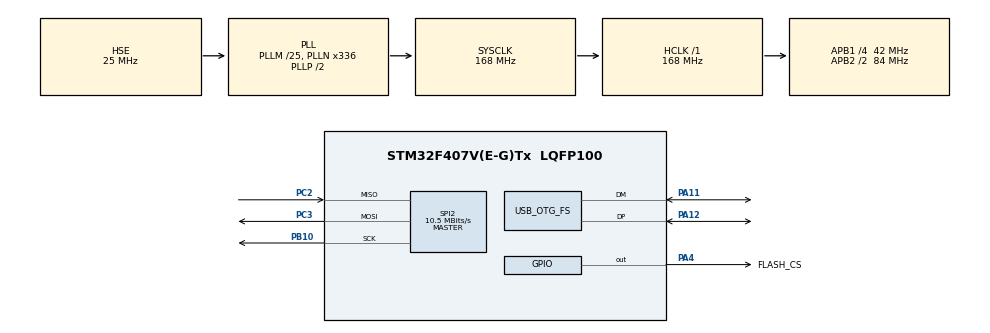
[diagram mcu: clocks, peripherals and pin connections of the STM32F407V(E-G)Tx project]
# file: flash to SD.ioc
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Mcu.Family=STM32F4
Mcu.Name=STM32F407V(E-G)Tx
Mcu.Package=LQFP100
NVIC.OTG_FS_IRQn=true\:0\:0\:false\:false\:true\:false\:true\:true
NVIC.PriorityGroup=NVIC_PRIORITYGROUP_4
PA11.Mode=Device_Only
PA11.Signal=USB_OTG_FS_DM
PA12.Mode=Device_Only
PA12.Signal=USB_OTG_FS_DP
PA13.Mode=Trace_Asynchronous_SW
PA13.Signal=SYS_JTMS-SWDIO
PA14.Mode=Trace_Asynchronous_SW
PA14.Signal=SYS_JTCK-SWCLK
PA4.GPIO_Label=FLASH_CS
PA4.Signal=GPIO_Output
PB10.Mode=Full_Duplex_Master
PB10.Signal=SPI2_SCK
PB3.Mode=Trace_Asynchronous_SW
PB3.Signal=SYS_JTDO-SWO
PC14-OSC32_IN.Mode=LSE-External-Oscillator
PC14-OSC32_IN.Signal=RCC_OSC32_IN
PC15-OSC32_OUT.Mode=LSE-External-Oscillator
PC15-OSC32_OUT.Signal=RCC_OSC32_OUT
PC2.Mode=Full_Duplex_Master
PC2.Signal=SPI2_MISO
PC3.Mode=Full_Duplex_Master
PC3.Signal=SPI2_MOSI
PH0-OSC_IN.Mode=HSE-External-Oscillator
PH0-OSC_IN.Signal=RCC_OSC_IN
PH1-OSC_OUT.Mode=HSE-External-Oscillator
PH1-OSC_OUT.Signal=RCC_OSC_OUT
ProjectManager.HeapSize=0x200
ProjectManager.StackSize=0x400
ProjectManager.TargetToolchain=STM32CubeIDE
RCC.48MHZClocksFreq_Value=48000000
RCC.AHBFreq_Value=168000000
RCC.APB1CLKDivider=RCC_HCLK_DIV4
RCC.APB1Freq_Value=42000000
RCC.APB1TimFreq_Value=84000000
RCC.APB2CLKDivider=RCC_HCLK_DIV2
RCC.APB2Freq_Value=84000000
RCC.APB2TimFreq_Value=168000000
RCC.CortexFreq_Value=168000000
RCC.HCLKFreq_Value=168000000
RCC.HSE_VALUE=25000000
RCC.HSI_VALUE=16000000
RCC.PLLM=25
RCC.PLLN=336
RCC.PLLQ=7
RCC.SYSCLKFreq_VALUE=168000000
RCC.SYSCLKSource=RCC_SYSCLKSOURCE_PLLCLK
RCC.VCOOutputFreq_Value=336000000
SPI2.BaudRatePrescaler=SPI_BAUDRATEPRESCALER_4
SPI2.CalculateBaudRate=10.5 MBits/s
SPI2.Direction=SPI_DIRECTION_2LINES
SPI2.Mode=SPI_MODE_MASTER
SPI2.VirtualType=VM_MASTER
USB_DEVICE.CLASS_NAME_FS=CDC
USB_DEVICE.VirtualMode-CDC_FS=Cdc
USB_DEVICE.VirtualModeFS=Cdc_FS
USB_OTG_FS.VirtualMode=Device_Only
VP_USB_DEVICE_VS_USB_DEVICE_CDC_FS.Mode=CDC_FS
board=custom

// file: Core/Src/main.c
/* USER CODE BEGIN Header */
/**
 ******************************************************************************
 * @file           : main.c
 * @brief          : Main program body
 ******************************************************************************
 * @attention
 *
 * Copyright (c) 2026 STMicroelectronics.
 * All rights reserved.
 *
 * This software is licensed under terms that can be found in the LICENSE file
 * in the root directory of this software component.
 * If no LICENSE file comes with this software, it is provided AS-IS.
 *
 ******************************************************************************
 */
/* USER CODE END Header */
#include "main.h"
#include "usb_device.h"

/* USER CODE BEGIN Includes */
#include "usbd_cdc_if.h"

#include <stdio.h>
#include <stdbool.h>
#include <string.h>

#include "FLIGHT.h"

#include "drivers/W25Q128JV/W25Q128JV.h"
#include "drivers/MICROSD/MICROSD.h"

#include "drivers/DEBUGGING/DEBUGGING.h"
/* USER CODE END Includes */

SPI_HandleTypeDef hspi2;

/* USER CODE BEGIN PV */
FlightDataHandler_t FlightData;
W25Q128JV_Handle_t W25Q128JV_Handler;

char output[1024] = {};
/* USER CODE END PV */

void SystemClock_Config(void);
static void MX_GPIO_Init(void);
static void MX_SPI2_Init(void);

int main(void)
{

  /* USER CODE BEGIN 1 */
    W25Q128JV_Handler.hspi = &hspi2;
    W25Q128JV_Handler.CsPort = FLASH_CS_GPIO_Port;
    W25Q128JV_Handler.CsPin = FLASH_CS_Pin;

  /* USER CODE END 1 */

  /* MCU Configuration--------------------------------------------------------*/

  /* Reset of all peripherals, Initializes the Flash interface and the Systick. */
  HAL_Init();

  /* Configure the system clock */
  SystemClock_Config();

  /* Initialize all configured peripherals */
  MX_GPIO_Init();
  MX_SPI2_Init();
  MX_USB_DEVICE_Init();
  /* USER CODE BEGIN 2 */
  W25Q128JVInit(&W25Q128JV_Handler);
      W25Q128JV_Handler.currentPage = 0;
      W25Q128JV_Handler.currentOffset = 0;
    uint8_t previousData = 0xAA;
  /* USER CODE END 2 */

  /* Infinite loop */
  /* USER CODE BEGIN WHILE */
    while (1)
    {
        W25Q128JVReadPage(&W25Q128JV_Handler, &FlightData);
        if((FlightData.start_byte == 255) && (previousData == 255))
        {
            break;
        }else if((FlightData.start_byte == 255)){
            sprintf(output, "\n\n\n\n\n\n");
            previousData = FlightData.start_byte;
            W25Q128JVReadPage(&W25Q128JV_Handler, &FlightData);
        }else{
        previousData = FlightData.start_byte;
        snprintf(output, sizeof(output),
                     "--- Packet: %lu ---\n"
                     "Time: %lu ms | Sys: %u | Flight: %u | Err: 0x%02X\n"
                     "IMU Acc: [%.2f, %.2f, %.2f]\n"
                     "IMU Gyr: [%.2f, %.2f, %.2f]\n"
                     "IMU Temp: %.2f\n"
                     "Baro: P:%.2f Alt:%.2f T:%.2f\n"
                     "Mag (RPY): %.2f, %.2f, %.2f\n"
                     "GPS: Sats:%u Lat:%.7f Lon:%.7f Alt:%.2f\n"
                     "KF Est: Alt:%.2f Vel:%.2f RPY:[%.2f, %.2f, %.2f] T:%.2f\n"
                     "Batt: %.2f V\n"
                     "Servos: X[%u, %u] Y[%u, %u] Rec[%u, %u]\n\n",

                     // Header
                     FlightData.packet_count,
                     FlightData.timestamp_ms,
                     FlightData.system_state,
                     FlightData.flight_state,
                     FlightData.error_flags,

                     // IMU
                     FlightData.accel_x, FlightData.accel_y, FlightData.accel_z,
                     FlightData.gyro_x, FlightData.gyro_y, FlightData.gyro_z,
                     FlightData.temp_imu,

                     // Barometer
                     FlightData.pressure,
                     FlightData.altitude,
                     FlightData.temp_baro,

                     // Magnetometer / Orientation
                     FlightData.roll, FlightData.pitch, FlightData.yaw,

                     // GPS (Notice %.7f for Lat/Lon)
                     FlightData.gps_sats,
                     FlightData.gps_lat,
                     FlightData.gps_lon,
                     FlightData.gps_alt,

                     // Kalman Filter Estimates
                     FlightData.est_altitude,
                     FlightData.est_velocity_z,
                     FlightData.est_roll, FlightData.est_pitch, FlightData.est_yaw,
                     FlightData.est_temperature,

                     // Battery
                     FlightData.battery_voltage,

                     // Servos
                     FlightData.servoAngleX1, FlightData.servoAngleX2,
                     FlightData.servoAngleY1, FlightData.servoAngleY2,
                     FlightData.servoRecov1, FlightData.servoRecov2);

            debugging(output);
        }

    /* USER CODE END WHILE */

    }
}

void SystemClock_Config(void)
{
  RCC_OscInitTypeDef RCC_OscInitStruct = {0};
  RCC_ClkInitTypeDef RCC_ClkInitStruct = {0};

  /** Configure the main internal regulator output voltage
  */
  __HAL_RCC_PWR_CLK_ENABLE();
  __HAL_PWR_VOLTAGESCALING_CONFIG(PWR_REGULATOR_VOLTAGE_SCALE1);

  /** Initializes the RCC Oscillators according to the specified parameters
  * in the RCC_OscInitTypeDef structure.
  */
  RCC_OscInitStruct.OscillatorType = RCC_OSCILLATORTYPE_HSE;
  RCC_OscInitStruct.HSEState = RCC_HSE_ON;
  RCC_OscInitStruct.PLL.PLLState = RCC_PLL_ON;
  RCC_OscInitStruct.PLL.PLLSource = RCC_PLLSOURCE_HSE;
  RCC_OscInitStruct.PLL.PLLM = 25;
  RCC_OscInitStruct.PLL.PLLN = 336;
  RCC_OscInitStruct.PLL.PLLP = RCC_PLLP_DIV2;
  RCC_OscInitStruct.PLL.PLLQ = 7;
  if (HAL_RCC_OscConfig(&RCC_OscInitStruct) != HAL_OK)
  {
    Error_Handler();
  }

  /** Initializes the CPU, AHB and APB buses clocks
  */
  RCC_ClkInitStruct.ClockType = RCC_CLOCKTYPE_HCLK|RCC_CLOCKTYPE_SYSCLK
                              |RCC_CLOCKTYPE_PCLK1|RCC_CLOCKTYPE_PCLK2;
  RCC_ClkInitStruct.SYSCLKSource = RCC_SYSCLKSOURCE_PLLCLK;
  RCC_ClkInitStruct.AHBCLKDivider = RCC_SYSCLK_DIV1;
  RCC_ClkInitStruct.APB1CLKDivider = RCC_HCLK_DIV4;
  RCC_ClkInitStruct.APB2CLKDivider = RCC_HCLK_DIV2;

  if (HAL_RCC_ClockConfig(&RCC_ClkInitStruct, FLASH_LATENCY_5) != HAL_OK)
  {
    Error_Handler();
  }
}

static void MX_SPI2_Init(void)
{

  /* SPI2 parameter configuration*/
  hspi2.Instance = SPI2;
  hspi2.Init.Mode = SPI_MODE_MASTER;
  hspi2.Init.Direction = SPI_DIRECTION_2LINES;
  hspi2.Init.DataSize = SPI_DATASIZE_8BIT;
  hspi2.Init.CLKPolarity = SPI_POLARITY_LOW;
  hspi2.Init.CLKPhase = SPI_PHASE_1EDGE;
  hspi2.Init.NSS = SPI_NSS_SOFT;
  hspi2.Init.BaudRatePrescaler = SPI_BAUDRATEPRESCALER_4;
  hspi2.Init.FirstBit = SPI_FIRSTBIT_MSB;
  hspi2.Init.TIMode = SPI_TIMODE_DISABLE;
  hspi2.Init.CRCCalculation = SPI_CRCCALCULATION_DISABLE;
  hspi2.Init.CRCPolynomial = 10;
  if (HAL_SPI_Init(&hspi2) != HAL_OK)
  {
    Error_Handler();
  }

}

static void MX_GPIO_Init(void)
{
  GPIO_InitTypeDef GPIO_InitStruct = {0};

  /* GPIO Ports Clock Enable */
  __HAL_RCC_GPIOC_CLK_ENABLE();
  __HAL_RCC_GPIOH_CLK_ENABLE();
  __HAL_RCC_GPIOA_CLK_ENABLE();
  __HAL_RCC_GPIOB_CLK_ENABLE();

  /*Configure GPIO pin Output Level */
  HAL_GPIO_WritePin(FLASH_CS_GPIO_Port, FLASH_CS_Pin, GPIO_PIN_RESET);

  /*Configure GPIO pin : FLASH_CS_Pin */
  GPIO_InitStruct.Pin = FLASH_CS_Pin;
  GPIO_InitStruct.Mode = GPIO_MODE_OUTPUT_PP;
  GPIO_InitStruct.Pull = GPIO_NOPULL;
  GPIO_InitStruct.Speed = GPIO_SPEED_FREQ_LOW;
  HAL_GPIO_Init(FLASH_CS_GPIO_Port, &GPIO_InitStruct);

}

void Error_Handler(void)
{
    __disable_irq();
    while (1)
    {
    }
}
